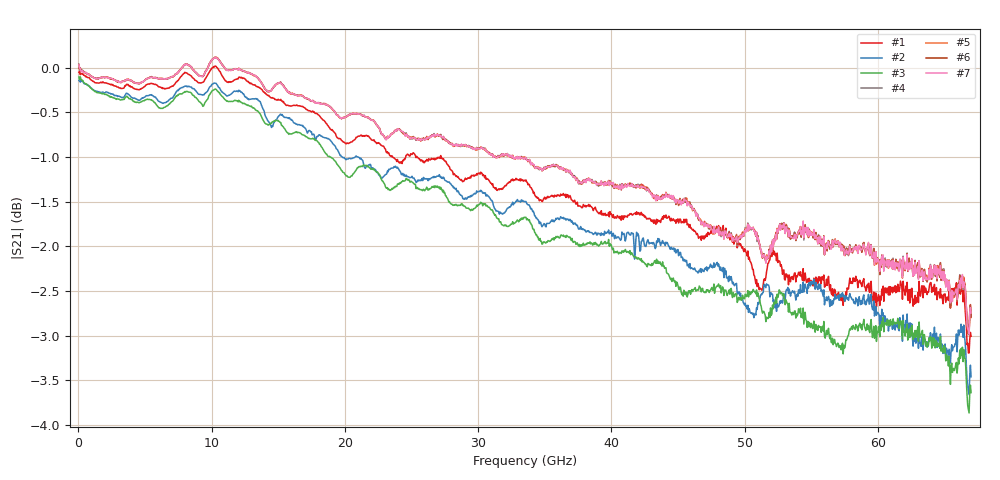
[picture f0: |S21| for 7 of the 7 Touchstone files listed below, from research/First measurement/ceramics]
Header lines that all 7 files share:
#  HZ  S  MA  R  50.00
! Rohde & Schwarz ZVA67 4Ports - Version 4.11 - 1305.7002k04 SN: 101051
! Measurements: S11 S21 S12 S22
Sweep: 50 MHz to 67 GHz
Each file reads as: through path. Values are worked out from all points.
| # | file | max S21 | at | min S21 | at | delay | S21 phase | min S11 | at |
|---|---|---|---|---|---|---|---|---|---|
| 1 | Line_A3.s2p | 0.02 dB | 10.25 GHz | -3.2 dB | 66.8 GHz | 385 ps | 23 deg at 33.55 GHz | -52.5 dB | 21.75 GHz |
| 2 | Line_A4.s2p | -0.14 dB | 100 MHz | -3.7 dB | 66.85 GHz | 398 ps | -133 deg at 33.55 GHz | -51.6 dB | 1.65 GHz |
| 3 | Line_A5.s2p | -0.10 dB | 150 MHz | -3.9 dB | 66.85 GHz | 412 ps | 65 deg at 33.55 GHz | -54.3 dB | 850 MHz |
| 4 | Thru_A1_2.s2p | 0.12 dB | 10.3 GHz | -3.0 dB | 66.85 GHz | 373 ps | 166 deg at 33.55 GHz | -49.7 dB | 100 MHz |
| 5 | Thru_A1_3.s2p | 0.12 dB | 10.3 GHz | -3.0 dB | 66.85 GHz | 373 ps | 166 deg at 33.55 GHz | -50.3 dB | 100 MHz |
| 6 | Thru_A1_4.s2p | 0.12 dB | 10.25 GHz | -3.0 dB | 66.8 GHz | 373 ps | 166 deg at 33.55 GHz | -48.7 dB | 100 MHz |
| 7 | Thru_A1_5.s2p | 0.12 dB | 10.3 GHz | -3.0 dB | 66.85 GHz | 373 ps | 166 deg at 33.55 GHz | -50.1 dB | 100 MHz |
